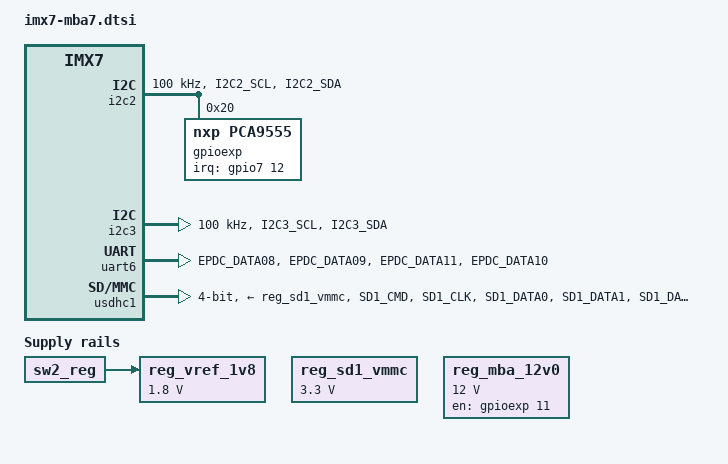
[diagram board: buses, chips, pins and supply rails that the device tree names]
// SPDX-License-Identifier: GPL-2.0+ OR MIT
/*
 * Copyright (C) 2016 - 2019 TQ Systems GmbH
 * Author: Markus Niebel <Markus.Niebel@tq-group.com>
 */

/ {
	aliases {
		mmc0 = &usdhc3;
		mmc1 = &usdhc1;
		/* not used but need to overwrite */
		mmc2 = &usdhc2;
	};

	chosen {
		bootargs="ttymxc5,115200";
		linux,stdout-path = &uart6;
		stdout-path = &uart6;
	};

	regulators {
		compatible = "simple-bus";
		#address-cells = <1>;
		#size-cells = <0>;

		reg_sd1_vmmc: regulator@0 {
			compatible = "regulator-fixed";
			reg = <0>;
			regulator-name = "VCC3V3_SD1";
			regulator-min-microvolt = <3300000>;
			regulator-max-microvolt = <3300000>;
			regulator-always-on;
		};

		reg_mba_12v0: regulator@7 {
			compatible = "regulator-fixed";
			reg = <7>;
			regulator-name = "VCC12V0_MBA7";
			regulator-min-microvolt = <12000000>;
			regulator-max-microvolt = <12000000>;
			gpio = <&gpioexp 11 GPIO_ACTIVE_HIGH>;
			enable-active-high;
		};

		reg_vref_1v8: regulator@9 {
			compatible = "regulator-fixed";
			reg = <9>;
			regulator-name = "VCC1V8_REF";
			regulator-min-microvolt = <1800000>;
			regulator-max-microvolt = <1800000>;
			regulator-always-on;
			vin-supply = <&sw2_reg>;
		};
	};
};

&i2c2 {
	clock-frequency = <100000>;
	pinctrl-names = "default";
	pinctrl-0 = <&pinctrl_i2c2>;
	status = "okay";

	gpioexp: pca9555@20 {
		compatible = "nxp,pca9555";
		reg = <0x20>;
		pinctrl-names = "default";
		pinctrl-0 = <&pinctrl_gpioexp>;
		gpio-controller;
		#gpio-cells = <2>;
		interrupt-parent = <&gpio7>;
		interrupts = <12 IRQ_TYPE_EDGE_FALLING>;
		interrupt-controller;
		#interrupt-cells = <2>;
	};
};

&i2c3 {
	clock-frequency = <100000>;
	pinctrl-names = "default";
	pinctrl-0 = <&pinctrl_i2c3>;
	status = "okay";
};

&iomuxc {
	pinctrl-names = "default";
	pinctrl-0 = <&pinctrl_hog_mba7_1>;

	imx7-mba7 {
		pinctrl_gpioexp: pca95550grp {
			fsl,pins = <
				MX7D_PAD_ENET1_TX_CLK__GPIO7_IO12	0x78
			>;
		};

		pinctrl_hog_mba7_1: hogmba71grp {
			fsl,pins = <
				/* #BOOT_EN */
				MX7D_PAD_UART2_TX_DATA__GPIO4_IO3	0x40000010
			>;
		};

		pinctrl_i2c2: i2c2grp {
			fsl,pins = <
				MX7D_PAD_I2C2_SCL__I2C2_SCL		0x40000078
				MX7D_PAD_I2C2_SDA__I2C2_SDA		0x40000078
			>;
		};

		pinctrl_i2c3: i2c3grp {
			fsl,pins = <
				MX7D_PAD_I2C3_SCL__I2C3_SCL		0x40000078
				MX7D_PAD_I2C3_SDA__I2C3_SDA		0x40000078
			>;
		};

		pinctrl_uart6: uart6grp {
			fsl,pins = <
				MX7D_PAD_EPDC_DATA08__UART6_DCE_RX	0x7d
				MX7D_PAD_EPDC_DATA09__UART6_DCE_TX	0x75
				MX7D_PAD_EPDC_DATA11__UART6_DCE_CTS	0x75
				MX7D_PAD_EPDC_DATA10__UART6_DCE_RTS	0x7d
			>;
		};

		pinctrl_usdhc1_gpio: usdhc1grp_gpio {
			fsl,pins = <
				MX7D_PAD_SD1_WP__GPIO5_IO1		0x7c /* WP */
				MX7D_PAD_SD1_CD_B__GPIO5_IO0		0x7c /* CD */
				MX7D_PAD_GPIO1_IO08__SD1_VSELECT	0x59 /* VSELECT */
			>;
		};

		pinctrl_usdhc1: usdhc1grp {
			fsl,pins = <
				MX7D_PAD_SD1_CMD__SD1_CMD	0x5e
				MX7D_PAD_SD1_CLK__SD1_CLK	0x57
				MX7D_PAD_SD1_DATA0__SD1_DATA0	0x5e
				MX7D_PAD_SD1_DATA1__SD1_DATA1	0x5e
				MX7D_PAD_SD1_DATA2__SD1_DATA2	0x5e
				MX7D_PAD_SD1_DATA3__SD1_DATA3	0x5e
			>;
		};

		pinctrl_usdhc1_100mhz: usdhc1grp_100mhz {
			fsl,pins = <
				MX7D_PAD_SD1_CMD__SD1_CMD	0x5a
				MX7D_PAD_SD1_CLK__SD1_CLK	0x57
				MX7D_PAD_SD1_DATA0__SD1_DATA0	0x5a
				MX7D_PAD_SD1_DATA1__SD1_DATA1	0x5a
				MX7D_PAD_SD1_DATA2__SD1_DATA2	0x5a
				MX7D_PAD_SD1_DATA3__SD1_DATA3	0x5a
			>;
		};

		pinctrl_usdhc1_200mhz: usdhc1grp_200mhz {
			fsl,pins = <
				MX7D_PAD_SD1_CMD__SD1_CMD	0x5b
				MX7D_PAD_SD1_CLK__SD1_CLK	0x57
				MX7D_PAD_SD1_DATA0__SD1_DATA0	0x5b
				MX7D_PAD_SD1_DATA1__SD1_DATA1	0x5b
				MX7D_PAD_SD1_DATA2__SD1_DATA2	0x5b
				MX7D_PAD_SD1_DATA3__SD1_DATA3	0x5b
			>;
		};
	};
};

&uart6 {
	pinctrl-names = "default";
	pinctrl-0 = <&pinctrl_uart6>;
	assigned-clocks = <&clks IMX7D_UART6_ROOT_SRC>;
	assigned-clock-parents = <&clks IMX7D_OSC_24M_CLK>;
	status = "okay";
};

&usdhc1 {
	pinctrl-names = "default", "state_100mhz", "state_200mhz";
	pinctrl-0 = <&pinctrl_usdhc1>, <&pinctrl_usdhc1_gpio>;
	pinctrl-1 = <&pinctrl_usdhc1_100mhz>, <&pinctrl_usdhc1_gpio>;
	pinctrl-2 = <&pinctrl_usdhc1_200mhz>, <&pinctrl_usdhc1_gpio>;
	cd-gpios = <&gpio5 0 GPIO_ACTIVE_LOW>;
	wp-gpios = <&gpio5 1 GPIO_ACTIVE_HIGH>;
	vmmc-supply = <&reg_sd1_vmmc>;
	bus-width = <4>;
	no-1-8-v;
	status = "okay";
};
